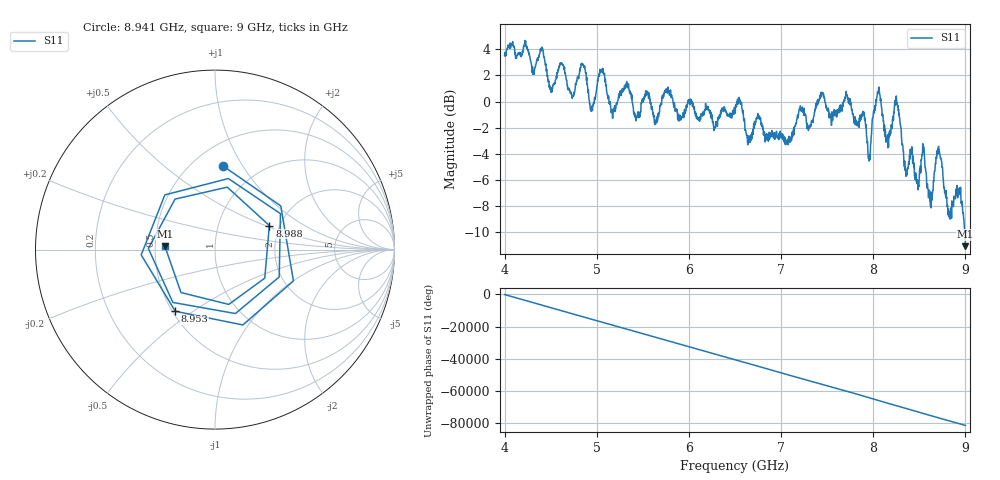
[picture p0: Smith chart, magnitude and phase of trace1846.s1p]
! Created with skrf 1.8.0 (http://scikit-rf.org).
# Hz S RI R 50.0
!freq ReS11 ImS11
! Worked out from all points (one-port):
!   1601 points, 4 GHz to 9 GHz, reference 50 ohm
!   lowest |S11| = -11.0 dB at 9 GHz (marker M1), VSWR 1.78, Z = 28.1 + j1.2 ohm
!   |S11| at or under -10 dB: 8.993145 GHz to end of sweep
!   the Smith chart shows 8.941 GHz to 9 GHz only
!   S11 on the Smith chart (normalised r, x): 8.941 GHz: 0.69, +0.83; 8.953 GHz: 0.52, -0.43; 8.988 GHz: 1.77, +0.53; 9 GHz: 0.56, +0.02
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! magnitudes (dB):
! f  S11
! 4 GHz  3.5
! 4.403 GHz  4.0
! 4.509 GHz  0.9
! 4.625 GHz  2.9
! 4.734 GHz  0.2
! 4.856 GHz  2.8
! 4.947 GHz  -0.3
! 5.047 GHz  2.3
! 5.162 GHz  -0.7
! 5.25 GHz  0.4
! 5.875 GHz  -0.8
! 6.5 GHz  -0.6
! 7.125 GHz  -2.5
! 7.438 GHz  0.4
! 7.75 GHz  -0.2
! 7.953 GHz  -4.2
! 8.05 GHz  0.6
! 8.15 GHz  -2.9
! 8.253 GHz  0.1
! 8.375 GHz  -5.1
! 8.544 GHz  -3.5
! 8.625 GHz  -6.9
! 8.716 GHz  -3.7
! 8.825 GHz  -8.5
! 8.941 GHz  -6.6
! 8.953 GHz  -7.8
! 8.988 GHz  -9.6
! 9 GHz  -11.0
